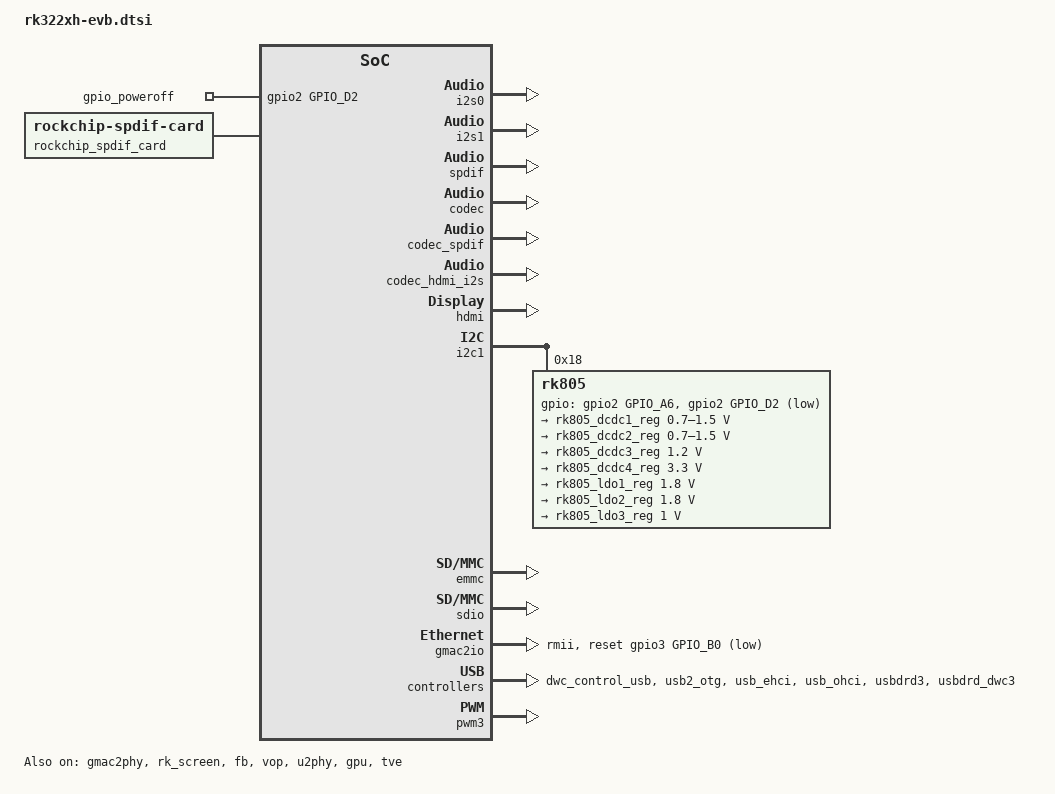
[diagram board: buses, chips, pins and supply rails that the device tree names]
/*
 * Copyright (c) 2016 Fuzhou Rockchip Electronics Co., Ltd
 *
 * This file is dual-licensed: you can use it either under the terms
 * of the GPL or the X11 license, at your option. Note that this dual
 * licensing only applies to this file, and not this project as a
 * whole.
 *
 *  a) This library is free software; you can redistribute it and/or
 *     modify it under the terms of the GNU General Public License as
 *     published by the Free Software Foundation; either version 2 of the
 *     License, or (at your option) any later version.
 *
 *     This library is distributed in the hope that it will be useful,
 *     but WITHOUT ANY WARRANTY; without even the implied warranty of
 *     MERCHANTABILITY or FITNESS FOR A PARTICULAR PURPOSE.  See the
 *     GNU General Public License for more details.
 *
 * Or, alternatively,
 *
 *  b) Permission is hereby granted, free of charge, to any person
 *     obtaining a copy of this software and associated documentation
 *     files (the "Software"), to deal in the Software without
 *     restriction, including without limitation the rights to use,
 *     copy, modify, merge, publish, distribute, sublicense, and/or
 *     sell copies of the Software, and to permit persons to whom the
 *     Software is furnished to do so, subject to the following
 *     conditions:
 *
 *     The above copyright notice and this permission notice shall be
 *     included in all copies or substantial portions of the Software.
 *
 *     THE SOFTWARE IS PROVIDED "AS IS", WITHOUT WARRANTY OF ANY KIND,
 *     EXPRESS OR IMPLIED, INCLUDING BUT NOT LIMITED TO THE WARRANTIES
 *     OF MERCHANTABILITY, FITNESS FOR A PARTICULAR PURPOSE AND
 *     NONINFRINGEMENT. IN NO EVENT SHALL THE AUTHORS OR COPYRIGHT
 *     HOLDERS BE LIABLE FOR ANY CLAIM, DAMAGES OR OTHER LIABILITY,
 *     WHETHER IN AN ACTION OF CONTRACT, TORT OR OTHERWISE, ARISING
 *     FROM, OUT OF OR IN CONNECTION WITH THE SOFTWARE OR THE USE OR
 *     OTHER DEALINGS IN THE SOFTWARE.
 */

#include "../../../arm/boot/dts/lcd-box.dtsi"
#include <dt-bindings/input/input.h>
/ {
	chosen {
		bootargs = "rockchip_jtag earlyprintk=uart8250-32bit,0xff130000 clk_ignore_unused";
	};

	fiq-debugger {
		status = "okay";
	};

	io-domains {
		status = "okay";

		vccio1-supply = <&rk805_dcdc4_reg>;
		vccio2-supply = <&rk805_ldo2_reg>;
		vccio3-supply = <&rk805_dcdc4_reg>;
		vccio4-supply = <&rk805_ldo1_reg>;
		vccio5-supply = <&rk805_dcdc4_reg>;
		vccio6-supply = <&rk805_dcdc4_reg>;
		pmuio-supply = <&rk805_dcdc4_reg>;
	};

	/* pmic_sleep */
	gpio_poweroff {
		compatible = "gpio-poweroff";
		gpios = <&gpio2 GPIO_D2 GPIO_ACTIVE_HIGH>;
		status = "okay";
	};

	rockchip_audio {
		compatible = "rockchip,rk322xh-audio", "rockchip,rk322x-audio";
		dais {
			dai0 {
				audio-codec = <&codec>;
				audio-controller = <&i2s1>;
				format = "i2s";
			};
		};
	};

	rockchip_spdif_card {
		compatible = "rockchip-spdif-card";
		dais {
			dai0 {
				audio-codec = <&codec_spdif>;
				audio-controller = <&spdif>;
			};
		};
	};

	rockchip_hdmi_i2s {
		compatible = "rockchip-hdmi-i2s";
		dais {
			dai0 {
				audio-codec = <&codec_hdmi_i2s>;
				audio-controller = <&i2s0>;
				format = "i2s";
			};
		};
	};
};

&clk_core_dvfs_table {
	operating-points = <
		/* KHz    uV */
		408000 950000
		600000 950000
		816000 1025000
		1008000 1100000
		1200000 1200000
		>;
	status = "okay";
};

&i2s0 {
	status = "okay";
};

&i2s1 {
	status = "okay";
};

&spdif {
	status = "okay";
};

&codec {
	spk_depop_time = <100>;
	status = "okay";
};

&codec_spdif {
	status = "okay";
};

&codec_hdmi_i2s {
	status = "okay";
};

&hdmi {
	status = "okay";
	rockchip,phy_table =
		<100000000 0 0 5 8 8 8>,
		<165000000 8 13 5 8 8 8>,
		<340000000 40 13 5 13 13 13>;
};

&i2c1 {
	status = "okay";
	rk805: rk805@18 {
		reg = <0x18>;
		status = "okay";
	};
};

&emmc {
	clock-frequency = <125000000>;
	clock-freq-min-max = <400000 125000000>;
	supports-highspeed;
	supports-emmc;
	bootpart-no-access;
	supports-DDR_MODE;
	caps2-mmc-hs200;
	ignore-pm-notify;
	keep-power-in-suspend;
	status = "okay";
};

&sdmmc {
	clock-frequency = <37500000>;
	clock-freq-min-max = <400000 37500000>;
	supports-highspeed;
	supports-sd;
	broken-cd;
	card-detect-delay = <800>;
	ignore-pm-notify;
	keep-power-in-suspend;
	power-inverted;
	status = "disabled";
};

&sdmmc_ext {
	clock-frequency = <37500000>;
	clock-freq-min-max = <400000 37500000>;
	supports-highspeed;
	supports-sd;
	broken-cd;
	card-detect-delay = <800>;
	ignore-pm-notify;
	keep-power-in-suspend;
	power-inverted;
	status = "disabled";
};

&sdio {
	clock-frequency = <37500000>;
	clock-freq-min-max = <200000 37500000>;
	supports-highspeed;
	supports-sdio;
	ignore-pm-notify;
	keep-power-in-suspend;
	cap-sdio-irq;
	status = "okay";
};

&gmac_clkin {
	clock-frequency = <125000000>;
};

&gmac2io {
	/* pmu_regulator = "act_ldo5"; */
	/* power-gpio = <&gpio0 GPIO_A6 GPIO_ACTIVE_HIGH>; */
	reset-gpio = <&gpio3 GPIO_B0 GPIO_ACTIVE_LOW>;
	/* phyirq-gpio = <&gpio0 GPIO_B1 GPIO_ACTIVE_LOW>; */
	phy-mode = "rmii";
	pinctrl-names = "default";
	pinctrl-0 = <&rmiim1_pins>;
	clock_in_out = "output";
};

&gmac2phy {
	clock_in_out = "output";
	status = "okay";
};

&disp_timings {
	native-mode = <&timing0>;
};

&rk_screen {
	status = "okay";
	display-timings = <&disp_timings>;
};

&fb {
	status = "okay";
	rockchip,disp-policy = <DISPLAY_POLICY_BOX>;
	rockchip,uboot-logo-on = <0>;
};

&vop {
	status = "okay";
};

&dwc_control_usb {
	otg_drv_gpio = <&gpio0 GPIO_D3 GPIO_ACTIVE_LOW>;

	rockchip,remote_wakeup;
	rockchip,usb_irq_wakeup;

	status = "okay";
};

&u2phy {
	status = "okay";
};

&usb2_otg {
	status = "okay";
};

&usb_ehci {
	status = "okay";
};

&usb_ohci {
	status = "okay";
};

&usbdrd3 {
	status = "okay";
};

&usbdrd_dwc3 {
	status = "okay";
};

#include "../../../arm/boot/dts/rk805.dtsi"
&rk805 {
	gpios = <&gpio2 GPIO_A6 GPIO_ACTIVE_HIGH>, <&gpio2 GPIO_D2 GPIO_ACTIVE_LOW>;
	rk805,system-power-controller;
	gpio-controller;
	#gpio-cells = <2>;

	regulators {
		rk805_dcdc1_reg: regulator@0 {
			regulator-name = "vdd_logic";
			regulator-min-microvolt = <700000>;
			regulator-max-microvolt = <1500000>;
			regulator-initial-mode = <0x1>;
			regulator-initial-state = <3>;
			regulator-boot-on;
			regulator-always-on;
			regulator-state-mem {
				regulator-state-mode = <0x2>;
				regulator-state-enabled;
				regulator-state-uv = <1000000>;
			};
		};

		rk805_dcdc2_reg: regulator@1 {
			regulator-name = "vdd_arm";
			regulator-min-microvolt = <700000>;
			regulator-max-microvolt = <1500000>;
			regulator-initial-mode = <0x1>;
			regulator-initial-state = <3>;
			regulator-boot-on;
			regulator-always-on;
			regulator-state-mem {
				regulator-state-mode = <0x2>;
				regulator-state-enabled;
				regulator-state-uv = <900000>;
			};
		};

		rk805_dcdc3_reg: regulator@2 {
			regulator-name = "vcc_ddr";
			regulator-min-microvolt = <1200000>;
			regulator-max-microvolt = <1200000>;
			regulator-initial-mode = <0x1>;
			regulator-initial-state = <3>;
			regulator-boot-on;
			regulator-always-on;
			regulator-state-mem {
				regulator-state-mode = <0x2>;
				regulator-state-enabled;
				regulator-state-uv = <1200000>;
			};
		};

		rk805_dcdc4_reg: regulator@3 {
			regulator-name = "vcc_io";
			regulator-min-microvolt = <3300000>;
			regulator-max-microvolt = <3300000>;
			regulator-initial-mode = <0x1>;
			regulator-initial-state = <3>;
			regulator-boot-on;
			regulator-always-on;
			regulator-state-mem {
				regulator-state-mode = <0x2>;
				regulator-state-enabled;
				regulator-state-uv = <3300000>;
			};
		};

		rk805_ldo1_reg: regulator@4 {
			regulator-name = "vdd_18";
			regulator-min-microvolt = <1800000>;
			regulator-max-microvolt = <1800000>;
			regulator-initial-state = <3>;
			regulator-boot-on;
			regulator-always-on;
			regulator-state-mem {
				regulator-state-enabled;
				regulator-state-uv = <1800000>;
			};
		};

		rk805_ldo2_reg: regulator@5 {
			regulator-name = "vcc_18emmc";
			regulator-min-microvolt = <1800000>;
			regulator-max-microvolt = <1800000>;
			regulator-initial-state = <3>;
			regulator-boot-on;
			regulator-always-on;
			regulator-state-mem {
				regulator-state-enabled;
				regulator-state-uv = <1800000>;
			};
		};

		rk805_ldo3_reg: regulator@6 {
			regulator-name = "vdd_10";
			regulator-min-microvolt = <1000000>;
			regulator-max-microvolt = <1000000>;
			regulator-initial-state = <3>;
			regulator-boot-on;
			regulator-always-on;
			regulator-state-mem {
				regulator-state-enabled;
				regulator-state-uv = <1000000>;
			};
		};
	};
};

&pwm3 {
	status = "okay";
	compatible = "rockchip,remotectl-pwm";
	remote_pwm_id = <3>;
	handle_cpu_id = <0>;

	ir_key1 {
		rockchip,usercode = <0x4040>;
		rockchip,key_table =
			<0xf2	KEY_REPLY>,
			<0xba	KEY_BACK>,
			<0xf4	KEY_UP>,
			<0xf1	KEY_DOWN>,
			<0xef	KEY_LEFT>,
			<0xee	KEY_RIGHT>,
			<0xbd	KEY_HOME>,
			<0xea	KEY_VOLUMEUP>,
			<0xe3	KEY_VOLUMEDOWN>,
			<0xe2	KEY_SEARCH>,
			<0xb2	KEY_POWER>,
			<0xbc	KEY_MUTE>,
			<0xec	KEY_MENU>,
			<0xbf	0x190>,
			<0xe0	0x191>,
			<0xe1	0x192>,
			<0xe9	183>,
			<0xe6	248>,
			<0xe8	185>,
			<0xe7	186>,
			<0xf0	388>,
			<0xbe	0x175>;
	};

	ir_key2 {
		rockchip,usercode = <0xff00>;
		rockchip,key_table =
			<0xf9	KEY_HOME>,
			<0xbf	KEY_BACK>,
			<0xfb	KEY_MENU>,
			<0xaa	KEY_REPLY>,
			<0xb9	KEY_UP>,
			<0xe9	KEY_DOWN>,
			<0xb8	KEY_LEFT>,
			<0xea	KEY_RIGHT>,
			<0xeb	KEY_VOLUMEDOWN>,
			<0xef	KEY_VOLUMEUP>,
			<0xf7	KEY_MUTE>,
			<0xe7	KEY_POWER>,
			<0xfc	KEY_POWER>,
			<0xa9	KEY_VOLUMEDOWN>,
			<0xa8	KEY_VOLUMEDOWN>,
			<0xe0	KEY_VOLUMEDOWN>,
			<0xa5	KEY_VOLUMEDOWN>,
			<0xab	183>,
			<0xb7	388>,
			<0xf8	184>,
			<0xaf	185>,
			<0xed	KEY_VOLUMEDOWN>,
			<0xee	186>,
			<0xb3	KEY_VOLUMEDOWN>,
			<0xf1	KEY_VOLUMEDOWN>,
			<0xf2	KEY_VOLUMEDOWN>,
			<0xf3	KEY_SEARCH>,
			<0xb4	KEY_VOLUMEDOWN>,
			<0xbe	KEY_SEARCH>;
	};

	ir_key3 {
		rockchip,usercode = <0x1dcc>;
		rockchip,key_table =
			<0xee	KEY_REPLY>,
			<0xf0	KEY_BACK>,
			<0xf8	KEY_UP>,
			<0xbb	KEY_DOWN>,
			<0xef	KEY_LEFT>,
			<0xed	KEY_RIGHT>,
			<0xfc	KEY_HOME>,
			<0xf1	KEY_VOLUMEUP>,
			<0xfd	KEY_VOLUMEDOWN>,
			<0xb7	KEY_SEARCH>,
			<0xff	KEY_POWER>,
			<0xf3	KEY_MUTE>,
			<0xbf	KEY_MENU>,
			<0xf9	0x191>,
			<0xf5	0x192>,
			<0xb3	388>,
			<0xbe	KEY_1>,
			<0xba	KEY_2>,
			<0xb2	KEY_3>,
			<0xbd	KEY_4>,
			<0xf9	KEY_5>,
			<0xb1	KEY_6>,
			<0xfc	KEY_7>,
			<0xf8	KEY_8>,
			<0xb0	KEY_9>,
			<0xb6	KEY_0>,
			<0xb5	KEY_BACKSPACE>;
	};
};

&gpu {
	status = "okay";
};

&tve {
	status = "okay";
};
